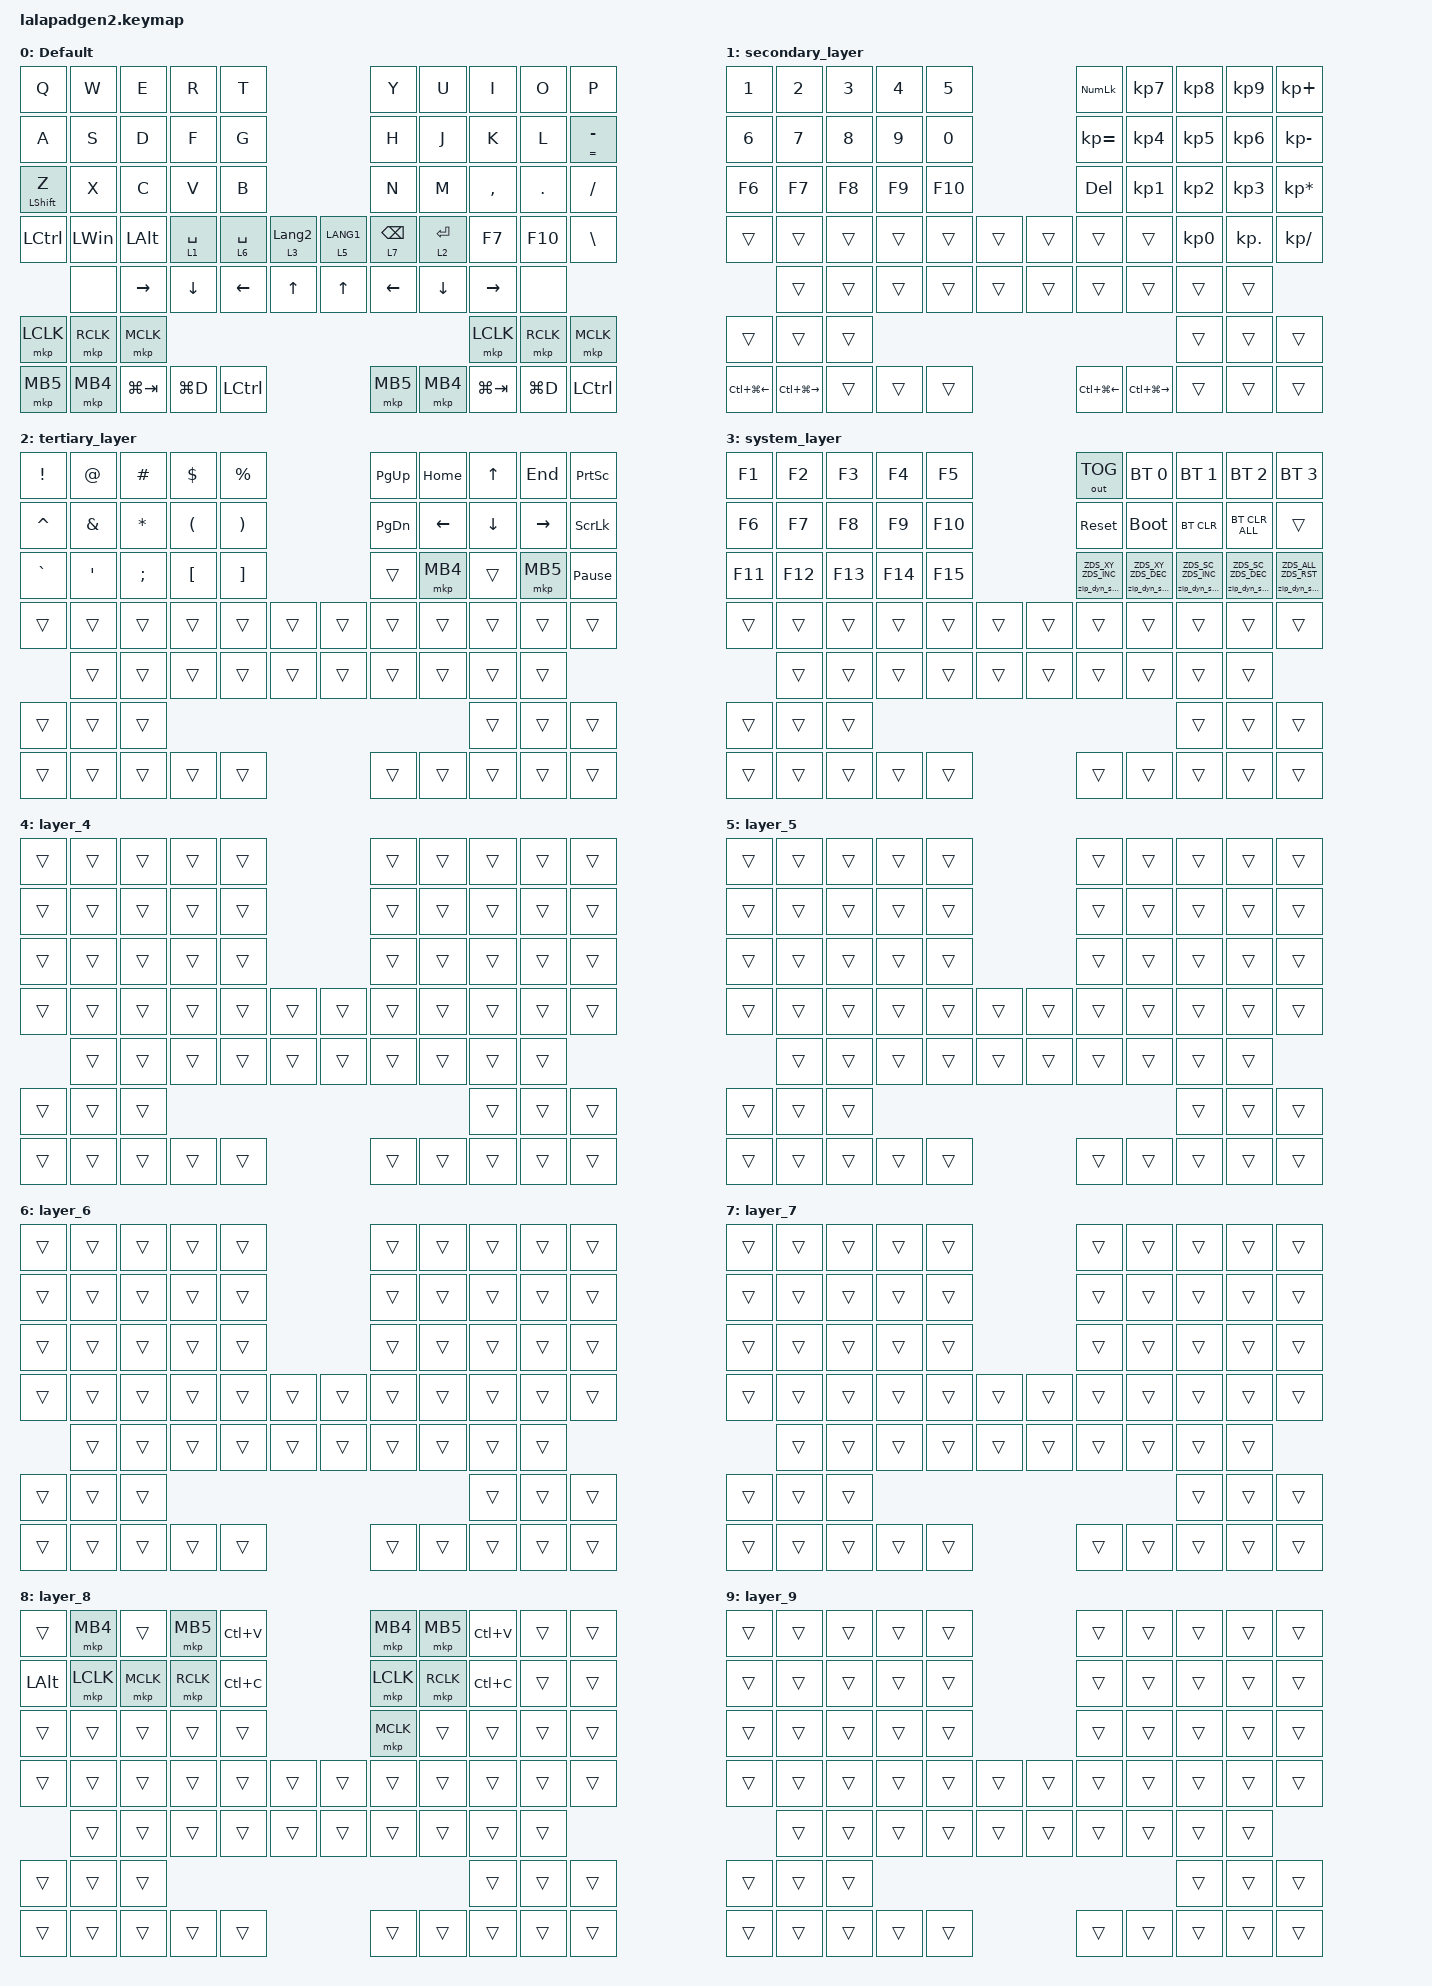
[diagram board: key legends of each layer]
#include <input/processors.dtsi>
#include <dt-bindings/zmk/zip_dynamic_scale.h>
#include <behaviors.dtsi>
#include <dt-bindings/zmk/bt.h>
#include <dt-bindings/zmk/keys.h>
#include <dt-bindings/zmk/outputs.h>
#include <dt-bindings/zmk/pointing.h>

#define DEFAULT_LAYER   0
#define SECONDARY_LAYER 1
#define TERTIARY_LAYER  2
#define SYSTEM_LAYER    3

&mt { quick-tap-ms = <200>; };

&lt { quick-tap-ms = <200>; };

/ {
    behaviors {
        zip_dyn_scale: zip_dyn_scale {
            compatible = "zmk,behavior-zip-dynamic-scale";
            #binding-cells = <2>;
        };

        zip_dyn_scale_set: zip_dyn_scale_set {
            compatible = "zmk,behavior-zip-dynamic-scale-set";
            #binding-cells = <2>;
        };

        mt2: mod_tap2 {
            compatible = "zmk,behavior-hold-tap";
            #binding-cells = <2>;
            flavor = "tap-preferred";
            tapping-term-ms = <200>;
            quick-tap-ms = <200>;
            require-prior-idle-ms = <125>;
            bindings = <&kp>, <&kp>;
        };

        tap_dance_layer_1and2: tap_dance_layer_1and2 {
            compatible = "zmk,behavior-tap-dance";
            label = "td_mo12";
            #binding-cells = <0>;
            bindings = <&mo 1>, <&mo 2>;
        };
    };

    combos {
        compatible = "zmk,combos";

        CONBO_ESC {
            bindings = <&kp ESCAPE>;
            key-positions = <0 1>;
        };

        COMBO_TAB {
            bindings = <&kp TAB>;
            key-positions = <10 11>;
        };
    };

    keymap {
        compatible = "zmk,keymap";

        DEFAULT_LAYER {
            display-name = "Default";
            bindings = <
&kp Q              &kp W      &kp E         &kp R        &kp T                                       &kp Y            &kp U        &kp I        &kp O       &kp P
&kp A              &kp S      &kp D         &kp F        &kp G                                       &kp H            &kp J        &kp K        &kp L       &mt2 EQUAL MINUS
&mt2 LEFT_SHIFT Z  &kp X      &kp C         &kp V        &kp B                                       &kp N            &kp M        &kp COMMA    &kp PERIOD  &kp SLASH
&kp LCTRL          &kp LWIN   &kp LEFT_ALT  &lt 1 SPACE  &lt 6 SPACE  &lt 3 LANGUAGE_2  &lt 5 LANG1  &lt 7 BACKSPACE  &lt 2 ENTER  &kp F7       &kp F10     &kp BACKSLASH
                   &none      &kp RIGHT     &kp DOWN     &kp LEFT     &kp UP            &kp UP       &kp LEFT         &kp DOWN     &kp RIGHT    &none
&mkp LCLK          &mkp RCLK  &mkp MCLK                                                                                            &mkp LCLK    &mkp RCLK   &mkp MCLK
&mkp MB5           &mkp MB4   &kp LG(TAB)   &kp LG(D)    &kp LCTRL                                   &mkp MB5         &mkp MB4     &kp LG(TAB)  &kp LG(D)   &kp LCTRL
            >;
        };

        SECONDARY_LAYER {
            display-name = "secondary_layer";
            bindings = <
&kp NUMBER_1      &kp NUMBER_2       &kp NUMBER_3  &kp NUMBER_4  &kp N5                   &kp KP_NUMLOCK    &kp KP_NUMBER_7    &kp KP_NUMBER_8  &kp KP_NUMBER_9  &kp KP_PLUS
&kp NUMBER_6      &kp N7             &kp N8        &kp N9        &kp N0                   &kp KP_EQUAL      &kp KP_NUMBER_4    &kp KP_NUMBER_5  &kp KP_NUMBER_6  &kp KP_MINUS
&kp F6            &kp F7             &kp F8        &kp F9        &kp F10                  &kp DELETE        &kp KP_NUMBER_1    &kp KP_NUMBER_2  &kp KP_NUMBER_3  &kp KP_ASTERISK
&trans            &trans             &trans        &trans        &trans   &trans  &trans  &trans            &trans             &kp KP_NUMBER_0  &kp KP_DOT       &kp KP_DIVIDE
                  &trans             &trans        &trans        &trans   &trans  &trans  &trans            &trans             &trans           &trans
&trans            &trans             &trans                                                                                    &trans           &trans           &trans
&kp LC(LG(LEFT))  &kp LC(LG(RIGHT))  &trans        &trans        &trans                   &kp LC(LG(LEFT))  &kp LC(LG(RIGHT))  &trans           &trans           &trans
            >;
        };

        TERTIARY_LAYER {
            display-name = "tertiary_layer";
            bindings = <
&kp EXCLAMATION  &kp AT_SIGN    &kp HASH      &kp DOLLAR            &kp PERCENT                            &kp PAGE_UP    &kp HOME  &kp UP_ARROW    &kp END    &kp PRINTSCREEN
&kp CARET        &kp AMPERSAND  &kp ASTERISK  &kp LEFT_PARENTHESIS  &kp RIGHT_PARENTHESIS                  &kp PAGE_DOWN  &kp LEFT  &kp DOWN_ARROW  &kp RIGHT  &kp SCROLLLOCK
&kp GRAVE        &kp SQT        &kp SEMI      &kp LEFT_BRACKET      &kp RIGHT_BRACKET                      &trans         &mkp MB4  &trans          &mkp MB5   &kp PAUSE_BREAK
&trans           &trans         &trans        &trans                &trans                 &trans  &trans  &trans         &trans    &trans          &trans     &trans
                 &trans         &trans        &trans                &trans                 &trans  &trans  &trans         &trans    &trans          &trans
&trans           &trans         &trans                                                                                              &trans          &trans     &trans
&trans           &trans         &trans        &trans                &trans                                 &trans         &trans    &trans          &trans     &trans
            >;
        };

        SYSTEM_LAYER {
            display-name = "system_layer";
            bindings = <
&kp F1   &kp F2   &kp F3   &kp F4   &kp F5                   &out OUT_TOG                   &bt BT_SEL 0                   &bt BT_SEL 1                   &bt BT_SEL 2                   &bt BT_SEL 3
&kp F6   &kp F7   &kp F8   &kp F9   &kp F10                  &sys_reset                     &bootloader                    &bt BT_CLR                     &bt BT_CLR_ALL                 &trans
&kp F11  &kp F12  &kp F13  &kp F14  &kp F15                  &zip_dyn_scale ZDS_XY ZDS_INC  &zip_dyn_scale ZDS_XY ZDS_DEC  &zip_dyn_scale ZDS_SC ZDS_INC  &zip_dyn_scale ZDS_SC ZDS_DEC  &zip_dyn_scale ZDS_ALL ZDS_RST
&trans   &trans   &trans   &trans   &trans   &trans  &trans  &trans                         &trans                         &trans                         &trans                         &trans
         &trans   &trans   &trans   &trans   &trans  &trans  &trans                         &trans                         &trans                         &trans
&trans   &trans   &trans                                                                                                   &trans                         &trans                         &trans
&trans   &trans   &trans   &trans   &trans                   &trans                         &trans                         &trans                         &trans                         &trans
            >;
        };

        layer_4 {
            bindings = <
&trans  &trans  &trans  &trans  &trans                  &trans  &trans  &trans  &trans  &trans
&trans  &trans  &trans  &trans  &trans                  &trans  &trans  &trans  &trans  &trans
&trans  &trans  &trans  &trans  &trans                  &trans  &trans  &trans  &trans  &trans
&trans  &trans  &trans  &trans  &trans  &trans  &trans  &trans  &trans  &trans  &trans  &trans
        &trans  &trans  &trans  &trans  &trans  &trans  &trans  &trans  &trans  &trans
&trans  &trans  &trans                                                  &trans  &trans  &trans
&trans  &trans  &trans  &trans  &trans                  &trans  &trans  &trans  &trans  &trans
            >;
        };

        layer_5 {
            bindings = <
&trans  &trans  &trans  &trans  &trans                  &trans  &trans  &trans  &trans  &trans
&trans  &trans  &trans  &trans  &trans                  &trans  &trans  &trans  &trans  &trans
&trans  &trans  &trans  &trans  &trans                  &trans  &trans  &trans  &trans  &trans
&trans  &trans  &trans  &trans  &trans  &trans  &trans  &trans  &trans  &trans  &trans  &trans
        &trans  &trans  &trans  &trans  &trans  &trans  &trans  &trans  &trans  &trans
&trans  &trans  &trans                                                  &trans  &trans  &trans
&trans  &trans  &trans  &trans  &trans                  &trans  &trans  &trans  &trans  &trans
            >;
        };

        layer_6 {
            bindings = <
&trans  &trans  &trans  &trans  &trans                  &trans  &trans  &trans  &trans  &trans
&trans  &trans  &trans  &trans  &trans                  &trans  &trans  &trans  &trans  &trans
&trans  &trans  &trans  &trans  &trans                  &trans  &trans  &trans  &trans  &trans
&trans  &trans  &trans  &trans  &trans  &trans  &trans  &trans  &trans  &trans  &trans  &trans
        &trans  &trans  &trans  &trans  &trans  &trans  &trans  &trans  &trans  &trans
&trans  &trans  &trans                                                  &trans  &trans  &trans
&trans  &trans  &trans  &trans  &trans                  &trans  &trans  &trans  &trans  &trans
            >;
        };

        layer_7 {
            bindings = <
&trans  &trans  &trans  &trans  &trans                  &trans  &trans  &trans  &trans  &trans
&trans  &trans  &trans  &trans  &trans                  &trans  &trans  &trans  &trans  &trans
&trans  &trans  &trans  &trans  &trans                  &trans  &trans  &trans  &trans  &trans
&trans  &trans  &trans  &trans  &trans  &trans  &trans  &trans  &trans  &trans  &trans  &trans
        &trans  &trans  &trans  &trans  &trans  &trans  &trans  &trans  &trans  &trans
&trans  &trans  &trans                                                  &trans  &trans  &trans
&trans  &trans  &trans  &trans  &trans                  &trans  &trans  &trans  &trans  &trans
            >;
        };

        layer_8 {
            // Auto mouse layer (activated by &zip_auto_mouse_layer on trackpad
            // motion; see lalapadgen2-common.dtsi). Mouse buttons on W/R/Y/I and
            // S/D/F/H/J/K; everything else &trans. Those keys are listed in
            // excluded-positions so pressing them keeps this layer active.

            bindings = <
&trans        &mkp MB4   &trans     &mkp MB5   &kp LC(V)                  &mkp MB4   &mkp MB5   &kp LC(V)  &trans  &trans
&kp LEFT_ALT  &mkp LCLK  &mkp MCLK  &mkp RCLK  &kp LC(C)                  &mkp LCLK  &mkp RCLK  &kp LC(C)  &trans  &trans
&trans        &trans     &trans     &trans     &trans                     &mkp MCLK  &trans     &trans     &trans  &trans
&trans        &trans     &trans     &trans     &trans     &trans  &trans  &trans     &trans     &trans     &trans  &trans
              &trans     &trans     &trans     &trans     &trans  &trans  &trans     &trans     &trans     &trans
&trans        &trans     &trans                                                                 &trans     &trans  &trans
&trans        &trans     &trans     &trans     &trans                     &trans     &trans     &trans     &trans  &trans
            >;
        };

        layer_9 {
            bindings = <
&trans  &trans  &trans  &trans  &trans                  &trans  &trans  &trans  &trans  &trans
&trans  &trans  &trans  &trans  &trans                  &trans  &trans  &trans  &trans  &trans
&trans  &trans  &trans  &trans  &trans                  &trans  &trans  &trans  &trans  &trans
&trans  &trans  &trans  &trans  &trans  &trans  &trans  &trans  &trans  &trans  &trans  &trans
        &trans  &trans  &trans  &trans  &trans  &trans  &trans  &trans  &trans  &trans
&trans  &trans  &trans                                                  &trans  &trans  &trans
&trans  &trans  &trans  &trans  &trans                  &trans  &trans  &trans  &trans  &trans
            >;
        };
    };

    conditional_layers {
        compatible = "zmk,conditional-layers";

        Cond_Syslayer {
            if-layers = <1 2>;
            then-layer = <10>;
        };
    };
};
